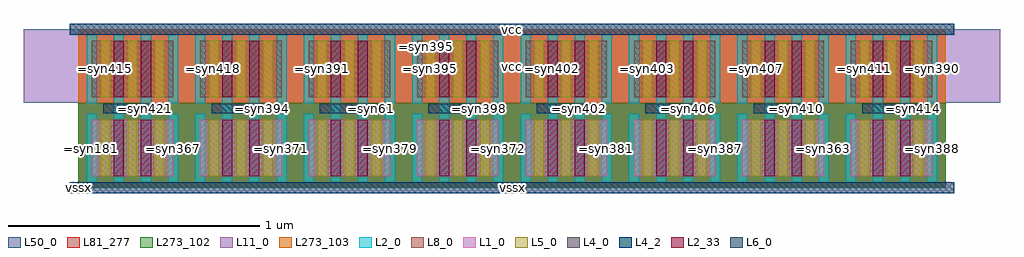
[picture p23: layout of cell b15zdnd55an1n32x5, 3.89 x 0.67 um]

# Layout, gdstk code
import gdstk
lib = gdstk.Library(unit=1e-6, precision=5e-10)
def R(c, l, rs):  # rectangles x0, y0, x1, y1
    for r in rs: c.add(gdstk.rectangle(r[:2], r[2:], *l))
def A(c, l, x, y, w, h, nx, ny, dx, dy):  # array of equal rectangles
    R(c, l, [(x+i*dx, y+j*dy, x+i*dx+w, y+j*dy+h) for i in range(nx) for j in range(ny)])
L1_0 = (1, 0)
L2_0 = (2, 0)
L2_33 = (2, 33)
L4_0 = (4, 0)
L4_2 = (4, 2)
L5_0 = (5, 0)
L6_0 = (6, 0)
L8_0 = (8, 0)
L11_0 = (11, 0)
L50_0 = (50, 0)
L81_277 = (81, 277)
L273_102 = (273, 102)
L273_103 = (273, 103)

b15zdnd55an1n32x5 = lib.new_cell('b15zdnd55an1n32x5')
A(b15zdnd55an1n32x5, L1_0, 0.054, 0.045, 0.324, 0.225, 8, 1, 0.432, 0)
R(b15zdnd55an1n32x5, L2_0, [(0.034,0.021,0.074,0.294), (0.142,0.021,0.182,0.609), (0.25,0.021,0.29,0.609), (0.358,0.021,0.398,0.294), (0.466,0.021,0.506,0.294), (0.574,0.021,0.614,0.609), (0.682,0.021,0.722,0.609), (0.79,0.021,0.83,0.294), (0.898,0.021,0.938,0.294), (1.006,0.021,1.046,0.609), (1.114,0.021,1.154,0.609), (1.222,0.021,1.262,0.294), (1.33,0.021,1.37,0.294), (1.438,0.021,1.478,0.609), (1.546,0.021,1.586,0.609), (1.654,0.021,1.694,0.294), (1.762,0.021,1.802,0.294), (1.87,0.021,1.91,0.609), (1.978,0.021,2.018,0.609), (2.086,0.021,2.126,0.294), (2.194,0.021,2.234,0.294), (2.302,0.021,2.342,0.609), (2.41,0.021,2.45,0.609), (2.518,0.021,2.558,0.294), (2.626,0.021,2.666,0.294), (2.734,0.021,2.774,0.609), (2.842,0.021,2.882,0.609), (2.95,0.021,2.99,0.294), (3.058,0.021,3.098,0.294), (3.166,0.021,3.206,0.609), (3.274,0.021,3.314,0.609), (3.382,0.021,3.422,0.294), (0.034,0.336,0.074,0.609), (0.358,0.336,0.398,0.609), (0.466,0.336,0.506,0.609), (0.79,0.336,0.83,0.609), (0.898,0.336,0.938,0.609), (1.222,0.336,1.262,0.609), (1.33,0.336,1.37,0.609), (1.654,0.336,1.694,0.609), (1.762,0.336,1.802,0.609), (2.086,0.336,2.126,0.609), (2.194,0.336,2.234,0.609), (2.518,0.336,2.558,0.609), (2.626,0.336,2.666,0.609), (2.95,0.336,2.99,0.609), (3.058,0.336,3.098,0.609), (3.382,0.336,3.422,0.609)])
R(b15zdnd55an1n32x5, L2_33, [(0.142,0.045,0.182,0.27), (0.25,0.045,0.29,0.27), (0.574,0.045,0.614,0.27), (0.682,0.045,0.722,0.27), (1.006,0.045,1.046,0.27), (1.114,0.045,1.154,0.27), (1.438,0.045,1.478,0.27), (1.546,0.045,1.586,0.27), (1.87,0.045,1.91,0.27), (1.978,0.045,2.018,0.27), (2.302,0.045,2.342,0.27), (2.41,0.045,2.45,0.27), (2.734,0.045,2.774,0.27), (2.842,0.045,2.882,0.27), (3.166,0.045,3.206,0.27), (3.274,0.045,3.314,0.27), (0.142,0.36,0.182,0.585), (0.25,0.36,0.29,0.585), (0.574,0.36,0.614,0.585), (0.682,0.36,0.722,0.585), (1.006,0.36,1.046,0.585), (1.114,0.36,1.154,0.585), (1.438,0.36,1.478,0.585), (1.546,0.36,1.586,0.585), (1.87,0.36,1.91,0.585), (1.978,0.36,2.018,0.585), (2.302,0.36,2.342,0.585), (2.41,0.36,2.45,0.585), (2.734,0.36,2.774,0.585), (2.842,0.36,2.882,0.585), (3.166,0.36,3.206,0.585), (3.274,0.36,3.314,0.585)])
R(b15zdnd55an1n32x5, L4_0, [(-0.034,-0.022,3.49,0.022), (-0.034,0.608,3.49,0.652)])
R(b15zdnd55an1n32x5, L4_2, [(-0.034,-0.022,3.49,0.022), (-0.034,0.608,3.49,0.652)])
A(b15zdnd55an1n32x5, L5_0, 0.089, 0.045, 0.038, 0.225, 3, 2, 0.108, 0.315)
A(b15zdnd55an1n32x5, L5_0, 0.521, 0.045, 0.038, 0.225, 3, 2, 0.108, 0.315)
A(b15zdnd55an1n32x5, L5_0, 0.953, 0.045, 0.038, 0.225, 3, 2, 0.108, 0.315)
A(b15zdnd55an1n32x5, L5_0, 1.385, 0.045, 0.038, 0.225, 3, 2, 0.108, 0.315)
A(b15zdnd55an1n32x5, L5_0, 1.817, 0.045, 0.038, 0.225, 3, 2, 0.108, 0.315)
A(b15zdnd55an1n32x5, L5_0, 2.249, 0.045, 0.038, 0.225, 3, 2, 0.108, 0.315)
A(b15zdnd55an1n32x5, L5_0, 2.681, 0.045, 0.038, 0.225, 3, 2, 0.108, 0.315)
A(b15zdnd55an1n32x5, L5_0, 3.113, 0.045, 0.038, 0.225, 3, 2, 0.108, 0.315)
A(b15zdnd55an1n32x5, L6_0, 0.099, 0.296, 0.234, 0.038, 8, 1, 0.432, 0)
A(b15zdnd55an1n32x5, L8_0, 0.054, 0.36, 0.324, 0.225, 8, 1, 0.432, 0)
R(b15zdnd55an1n32x5, L11_0, [(-0.216,0.3375,3.672,0.63)])
R(b15zdnd55an1n32x5, L50_0, [(0,0,3.456,0.63)])
R(b15zdnd55an1n32x5, L81_277, [(0,0,3.456,0.63)])
R(b15zdnd55an1n32x5, L273_102, [(0,0,3.456,0.3375)])
R(b15zdnd55an1n32x5, L273_103, [(0,0.3375,3.456,0.63)])
b15zdnd55an1n32x5.add(gdstk.Label('vssx', (0,0), layer=81, texttype=6))
b15zdnd55an1n32x5.add(gdstk.Label('vcc', (1.728,0.484), layer=11, texttype=0))
b15zdnd55an1n32x5.add(gdstk.Label('=syn415', (0.108,0.4725), layer=8, texttype=0))
b15zdnd55an1n32x5.add(gdstk.Label('=syn418', (0.54,0.4725), layer=8, texttype=0))
b15zdnd55an1n32x5.add(gdstk.Label('=syn391', (0.972,0.4725), layer=8, texttype=0))
b15zdnd55an1n32x5.add(gdstk.Label('=syn395', (1.404,0.4725), layer=8, texttype=0))
b15zdnd55an1n32x5.add(gdstk.Label('=syn399', (1.836,0.4725), layer=8, texttype=0))
b15zdnd55an1n32x5.add(gdstk.Label('=syn403', (2.268,0.4725), layer=8, texttype=0))
b15zdnd55an1n32x5.add(gdstk.Label('=syn407', (2.7,0.4725), layer=8, texttype=0))
b15zdnd55an1n32x5.add(gdstk.Label('=syn411', (3.132,0.4725), layer=8, texttype=0))
b15zdnd55an1n32x5.add(gdstk.Label('vcc', (1.728,0.63), layer=4, texttype=0))
b15zdnd55an1n32x5.add(gdstk.Label('vssx', (1.728,0), layer=4, texttype=0))
b15zdnd55an1n32x5.add(gdstk.Label('vcc', (1.728,0.63), layer=4, texttype=2))
b15zdnd55an1n32x5.add(gdstk.Label('vssx', (1.728,0), layer=4, texttype=2))
b15zdnd55an1n32x5.add(gdstk.Label('=syn182', (0.054,0.4725), layer=2, texttype=0))
b15zdnd55an1n32x5.add(gdstk.Label('=syn181', (0.054,0.1575), layer=2, texttype=0))
b15zdnd55an1n32x5.add(gdstk.Label('=syn421', (0.162,0.4725), layer=2, texttype=0))
b15zdnd55an1n32x5.add(gdstk.Label('=syn421', (0.27,0.4725), layer=2, texttype=0))
b15zdnd55an1n32x5.add(gdstk.Label('=syn368', (0.378,0.4725), layer=2, texttype=0))
b15zdnd55an1n32x5.add(gdstk.Label('=syn367', (0.378,0.1575), layer=2, texttype=0))
b15zdnd55an1n32x5.add(gdstk.Label('=syn185', (0.486,0.4725), layer=2, texttype=0))
b15zdnd55an1n32x5.add(gdstk.Label('=syn184', (0.486,0.1575), layer=2, texttype=0))
b15zdnd55an1n32x5.add(gdstk.Label('=syn394', (0.594,0.4725), layer=2, texttype=0))
b15zdnd55an1n32x5.add(gdstk.Label('=syn394', (0.702,0.4725), layer=2, texttype=0))
b15zdnd55an1n32x5.add(gdstk.Label('=syn373', (0.81,0.4725), layer=2, texttype=0))
b15zdnd55an1n32x5.add(gdstk.Label('=syn371', (0.81,0.1575), layer=2, texttype=0))
b15zdnd55an1n32x5.add(gdstk.Label('=syn188', (0.918,0.4725), layer=2, texttype=0))
b15zdnd55an1n32x5.add(gdstk.Label('=syn187', (0.918,0.1575), layer=2, texttype=0))
b15zdnd55an1n32x5.add(gdstk.Label('=syn61', (1.026,0.4725), layer=2, texttype=0))
b15zdnd55an1n32x5.add(gdstk.Label('=syn61', (1.134,0.4725), layer=2, texttype=0))
b15zdnd55an1n32x5.add(gdstk.Label('=syn380', (1.242,0.4725), layer=2, texttype=0))
b15zdnd55an1n32x5.add(gdstk.Label('=syn379', (1.242,0.1575), layer=2, texttype=0))
b15zdnd55an1n32x5.add(gdstk.Label('=syn191', (1.35,0.4725), layer=2, texttype=0))
b15zdnd55an1n32x5.add(gdstk.Label('=syn190', (1.35,0.1575), layer=2, texttype=0))
b15zdnd55an1n32x5.add(gdstk.Label('=syn398', (1.458,0.4725), layer=2, texttype=0))
b15zdnd55an1n32x5.add(gdstk.Label('=syn398', (1.566,0.4725), layer=2, texttype=0))
b15zdnd55an1n32x5.add(gdstk.Label('=syn374', (1.674,0.4725), layer=2, texttype=0))
b15zdnd55an1n32x5.add(gdstk.Label('=syn372', (1.674,0.1575), layer=2, texttype=0))
b15zdnd55an1n32x5.add(gdstk.Label('=syn194', (1.782,0.4725), layer=2, texttype=0))
b15zdnd55an1n32x5.add(gdstk.Label('=syn193', (1.782,0.1575), layer=2, texttype=0))
b15zdnd55an1n32x5.add(gdstk.Label('=syn402', (1.89,0.4725), layer=2, texttype=0))
b15zdnd55an1n32x5.add(gdstk.Label('=syn402', (1.998,0.4725), layer=2, texttype=0))
b15zdnd55an1n32x5.add(gdstk.Label('=syn384', (2.106,0.4725), layer=2, texttype=0))
b15zdnd55an1n32x5.add(gdstk.Label('=syn381', (2.106,0.1575), layer=2, texttype=0))
b15zdnd55an1n32x5.add(gdstk.Label('=syn198', (2.214,0.4725), layer=2, texttype=0))
b15zdnd55an1n32x5.add(gdstk.Label('=syn196', (2.214,0.1575), layer=2, texttype=0))
b15zdnd55an1n32x5.add(gdstk.Label('=syn406', (2.322,0.4725), layer=2, texttype=0))
b15zdnd55an1n32x5.add(gdstk.Label('=syn406', (2.43,0.4725), layer=2, texttype=0))
b15zdnd55an1n32x5.add(gdstk.Label('=syn389', (2.538,0.4725), layer=2, texttype=0))
b15zdnd55an1n32x5.add(gdstk.Label('=syn387', (2.538,0.1575), layer=2, texttype=0))
b15zdnd55an1n32x5.add(gdstk.Label('=syn203', (2.646,0.4725), layer=2, texttype=0))
b15zdnd55an1n32x5.add(gdstk.Label('=syn202', (2.646,0.1575), layer=2, texttype=0))
b15zdnd55an1n32x5.add(gdstk.Label('=syn410', (2.754,0.4725), layer=2, texttype=0))
b15zdnd55an1n32x5.add(gdstk.Label('=syn410', (2.862,0.4725), layer=2, texttype=0))
b15zdnd55an1n32x5.add(gdstk.Label('=syn364', (2.97,0.4725), layer=2, texttype=0))
b15zdnd55an1n32x5.add(gdstk.Label('=syn363', (2.97,0.1575), layer=2, texttype=0))
b15zdnd55an1n32x5.add(gdstk.Label('=syn199', (3.078,0.4725), layer=2, texttype=0))
b15zdnd55an1n32x5.add(gdstk.Label('=syn197', (3.078,0.1575), layer=2, texttype=0))
b15zdnd55an1n32x5.add(gdstk.Label('=syn414', (3.186,0.4725), layer=2, texttype=0))
b15zdnd55an1n32x5.add(gdstk.Label('=syn414', (3.294,0.4725), layer=2, texttype=0))
b15zdnd55an1n32x5.add(gdstk.Label('=syn390', (3.402,0.4725), layer=2, texttype=0))
b15zdnd55an1n32x5.add(gdstk.Label('=syn388', (3.402,0.1575), layer=2, texttype=0))
b15zdnd55an1n32x5.add(gdstk.Label('=syn369', (0.216,0.1575), layer=1, texttype=0))
b15zdnd55an1n32x5.add(gdstk.Label('=syn376', (0.756,0.1575), layer=1, texttype=0))
b15zdnd55an1n32x5.add(gdstk.Label('=syn383', (1.188,0.1575), layer=1, texttype=0))
b15zdnd55an1n32x5.add(gdstk.Label('=syn378', (1.62,0.1575), layer=1, texttype=0))
b15zdnd55an1n32x5.add(gdstk.Label('=syn386', (2.052,0.1575), layer=1, texttype=0))
b15zdnd55an1n32x5.add(gdstk.Label('=syn359', (2.376,0.1575), layer=1, texttype=0))
b15zdnd55an1n32x5.add(gdstk.Label('=syn366', (2.916,0.1575), layer=1, texttype=0))
b15zdnd55an1n32x5.add(gdstk.Label('=syn362', (3.348,0.1575), layer=1, texttype=0))
b15zdnd55an1n32x5.add(gdstk.Label('=syn421', (0.27,0.315), layer=6, texttype=0))
b15zdnd55an1n32x5.add(gdstk.Label('=syn394', (0.736,0.315), layer=6, texttype=0))
b15zdnd55an1n32x5.add(gdstk.Label('=syn61', (1.168,0.315), layer=6, texttype=0))
b15zdnd55an1n32x5.add(gdstk.Label('=syn398', (1.6,0.315), layer=6, texttype=0))
b15zdnd55an1n32x5.add(gdstk.Label('=syn402', (1.998,0.315), layer=6, texttype=0))
b15zdnd55an1n32x5.add(gdstk.Label('=syn406', (2.43,0.315), layer=6, texttype=0))
b15zdnd55an1n32x5.add(gdstk.Label('=syn410', (2.862,0.315), layer=6, texttype=0))
b15zdnd55an1n32x5.add(gdstk.Label('=syn414', (3.328,0.315), layer=6, texttype=0))
b15zdnd55an1n32x5.add(gdstk.Label('=syn415', (0.108,0.4725), layer=5, texttype=0))
b15zdnd55an1n32x5.add(gdstk.Label('=syn183', (0.108,0.1575), layer=5, texttype=0))
b15zdnd55an1n32x5.add(gdstk.Label('=syn416', (0.216,0.4725), layer=5, texttype=0))
b15zdnd55an1n32x5.add(gdstk.Label('=syn369', (0.216,0.1575), layer=5, texttype=0))
b15zdnd55an1n32x5.add(gdstk.Label('=syn417', (0.324,0.4725), layer=5, texttype=0))
b15zdnd55an1n32x5.add(gdstk.Label('=syn370', (0.324,0.1575), layer=5, texttype=0))
b15zdnd55an1n32x5.add(gdstk.Label('=syn418', (0.54,0.4725), layer=5, texttype=0))
b15zdnd55an1n32x5.add(gdstk.Label('=syn186', (0.54,0.1575), layer=5, texttype=0))
b15zdnd55an1n32x5.add(gdstk.Label('=syn419', (0.648,0.4725), layer=5, texttype=0))
b15zdnd55an1n32x5.add(gdstk.Label('=syn375', (0.648,0.1575), layer=5, texttype=0))
b15zdnd55an1n32x5.add(gdstk.Label('=syn420', (0.756,0.4725), layer=5, texttype=0))
b15zdnd55an1n32x5.add(gdstk.Label('=syn376', (0.756,0.1575), layer=5, texttype=0))
b15zdnd55an1n32x5.add(gdstk.Label('=syn391', (0.972,0.4725), layer=5, texttype=0))
b15zdnd55an1n32x5.add(gdstk.Label('=syn189', (0.972,0.1575), layer=5, texttype=0))
b15zdnd55an1n32x5.add(gdstk.Label('=syn392', (1.08,0.4725), layer=5, texttype=0))
b15zdnd55an1n32x5.add(gdstk.Label('=syn382', (1.08,0.1575), layer=5, texttype=0))
b15zdnd55an1n32x5.add(gdstk.Label('=syn393', (1.188,0.4725), layer=5, texttype=0))
b15zdnd55an1n32x5.add(gdstk.Label('=syn383', (1.188,0.1575), layer=5, texttype=0))
b15zdnd55an1n32x5.add(gdstk.Label('=syn395', (1.386,0.56), layer=5, texttype=0))
b15zdnd55an1n32x5.add(gdstk.Label('=syn192', (1.404,0.1575), layer=5, texttype=0))
b15zdnd55an1n32x5.add(gdstk.Label('=syn396', (1.512,0.4725), layer=5, texttype=0))
b15zdnd55an1n32x5.add(gdstk.Label('=syn377', (1.512,0.1575), layer=5, texttype=0))
b15zdnd55an1n32x5.add(gdstk.Label('=syn397', (1.62,0.4725), layer=5, texttype=0))
b15zdnd55an1n32x5.add(gdstk.Label('=syn378', (1.62,0.1575), layer=5, texttype=0))
b15zdnd55an1n32x5.add(gdstk.Label('=syn399', (1.836,0.4725), layer=5, texttype=0))
b15zdnd55an1n32x5.add(gdstk.Label('=syn195', (1.836,0.1575), layer=5, texttype=0))
b15zdnd55an1n32x5.add(gdstk.Label('=syn400', (1.944,0.4725), layer=5, texttype=0))
b15zdnd55an1n32x5.add(gdstk.Label('=syn385', (1.944,0.1575), layer=5, texttype=0))
b15zdnd55an1n32x5.add(gdstk.Label('=syn401', (2.052,0.4725), layer=5, texttype=0))
b15zdnd55an1n32x5.add(gdstk.Label('=syn386', (2.052,0.1575), layer=5, texttype=0))
b15zdnd55an1n32x5.add(gdstk.Label('=syn403', (2.268,0.4725), layer=5, texttype=0))
b15zdnd55an1n32x5.add(gdstk.Label('=syn200', (2.268,0.1575), layer=5, texttype=0))
b15zdnd55an1n32x5.add(gdstk.Label('=syn404', (2.376,0.4725), layer=5, texttype=0))
b15zdnd55an1n32x5.add(gdstk.Label('=syn359', (2.376,0.1575), layer=5, texttype=0))
b15zdnd55an1n32x5.add(gdstk.Label('=syn405', (2.484,0.4725), layer=5, texttype=0))
b15zdnd55an1n32x5.add(gdstk.Label('=syn360', (2.484,0.1575), layer=5, texttype=0))
b15zdnd55an1n32x5.add(gdstk.Label('=syn407', (2.7,0.4725), layer=5, texttype=0))
b15zdnd55an1n32x5.add(gdstk.Label('=syn204', (2.7,0.1575), layer=5, texttype=0))
b15zdnd55an1n32x5.add(gdstk.Label('=syn408', (2.808,0.4725), layer=5, texttype=0))
b15zdnd55an1n32x5.add(gdstk.Label('=syn365', (2.808,0.1575), layer=5, texttype=0))
b15zdnd55an1n32x5.add(gdstk.Label('=syn409', (2.916,0.4725), layer=5, texttype=0))
b15zdnd55an1n32x5.add(gdstk.Label('=syn366', (2.916,0.1575), layer=5, texttype=0))
b15zdnd55an1n32x5.add(gdstk.Label('=syn411', (3.132,0.4725), layer=5, texttype=0))
b15zdnd55an1n32x5.add(gdstk.Label('=syn201', (3.132,0.1575), layer=5, texttype=0))
b15zdnd55an1n32x5.add(gdstk.Label('=syn412', (3.24,0.4725), layer=5, texttype=0))
b15zdnd55an1n32x5.add(gdstk.Label('=syn361', (3.24,0.1575), layer=5, texttype=0))
b15zdnd55an1n32x5.add(gdstk.Label('=syn413', (3.348,0.4725), layer=5, texttype=0))
b15zdnd55an1n32x5.add(gdstk.Label('=syn362', (3.348,0.1575), layer=5, texttype=0))

lib.write_gds('b15zdnd55an1n32x5.gds')
